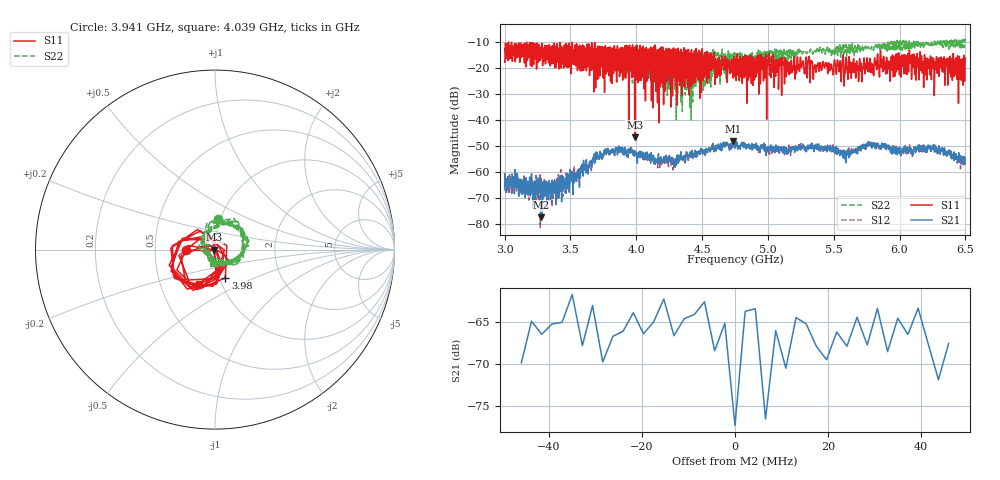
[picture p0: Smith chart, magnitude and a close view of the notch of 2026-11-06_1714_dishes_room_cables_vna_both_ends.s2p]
! HEWLETT PACKARD,8720ES,MY41003347,7.72, via bringup/vna_tests.py
! dishes_room_cables_vna_both_ends
! measured 2026-11-06 17:15:40, 1601 points, 3000000000-6500000000 Hz, IF bandwidth 1000 Hz, source -40.00 dBm, kit CALK35MD
# HZ S RI R 50
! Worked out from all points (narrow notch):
!   1601 points, 3 GHz to 6.5 GHz, reference 50 ohm
!   highest |S21| = -48.06 dB at 4.732 GHz (marker M1); lowest = -77.3 dB at 3.278 GHz (marker M2)
!   notch at M2: 25.3 dB deep, 7.85 MHz wide at half that depth
!   lowest |S11| = -46.6 dB at 3.989 GHz (marker M3), VSWR 1.01, Z = 49.5 - j0.0798 ohm
!   |S11| at or under -10 dB: start of sweep to end of sweep
!   |S22| runs from -40.0 to -9.0 dB; largest |S21 - S12| = 0.0013
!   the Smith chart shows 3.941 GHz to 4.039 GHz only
!   S11 on the Smith chart (normalised r, x): 3.941 GHz: 0.73, -0.00; 3.98 GHz: 1.06, -0.35; 4.039 GHz: 0.78, -0.31
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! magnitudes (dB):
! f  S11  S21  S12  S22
! 3 GHz  -17.5  -65.8  -61.9  -12.4
! 3.024 GHz  -17.2  -64.0  -61.2  -13.6
! 3.278 GHz  -15.1  -77.3  -62.5  -14.1
! 3.398 GHz  -10.7  -67.8  -65.9  -15.1
! 3.584 GHz  -14.2  -58.6  -60.4  -16.2
! 3.772 GHz  -20.4  -53.2  -52.5  -13.4
! 3.941 GHz  -16.0  -51.7  -51.2  -15.3
! 3.98 GHz  -15.5  -53.6  -52.7  -16.7
! 3.989 GHz  -46.6  -52.7  -53.2  -14.5
! 4.039 GHz  -13.5  -52.3  -54.2  -22.2
! 4.168 GHz  -13.2  -52.9  -54.5  -18.8
! 4.424 GHz  -22.4  -52.5  -51.6  -15.0
! 4.485 GHz  -17.7  -53.0  -53.0  -24.5
! 4.732 GHz  -18.4  -48.1  -48.5  -14.7
! 4.75 GHz  -20.7  -50.8  -49.7  -18.6
! 5.334 GHz  -17.8  -48.8  -49.7  -13.7
! 5.583 GHz  -21.9  -53.3  -52.8  -11.8
! 5.772 GHz  -20.2  -49.5  -49.3  -13.1
! 5.918 GHz  -20.4  -49.9  -49.9  -13.1
! 6.268 GHz  -18.8  -51.7  -52.3  -10.0
! 6.465 GHz  -16.9  -55.2  -56.6  -10.6
! 6.5 GHz  -16.3  -55.5  -56.9  -10.0
